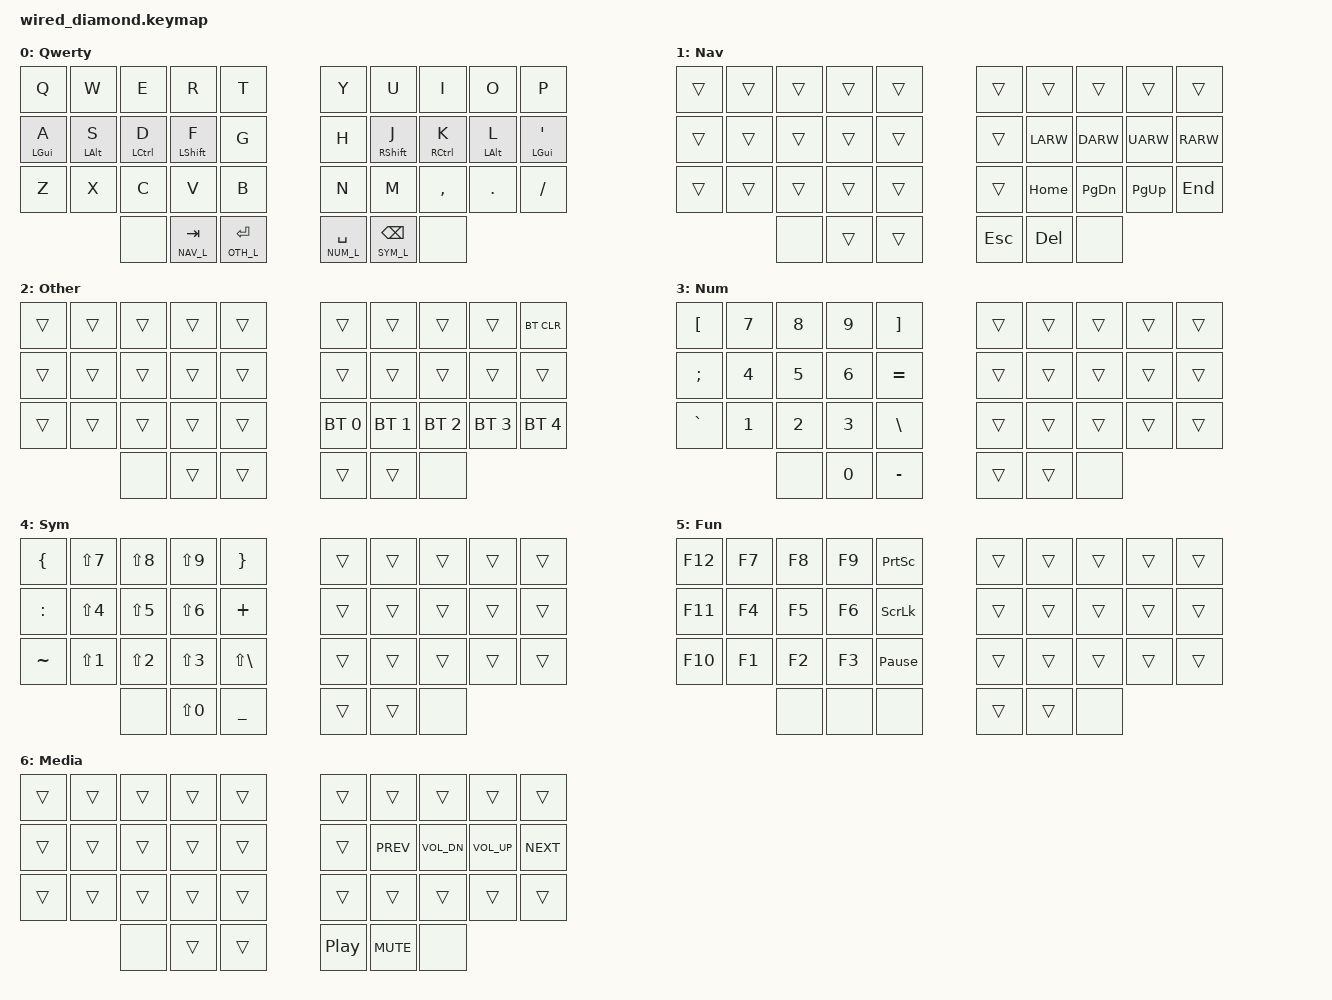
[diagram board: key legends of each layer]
/*
*
* Copyright (c) 2024 Rafael Romão
* SPDX-License-Identifier: MIT
*
*/

#include <behaviors.dtsi>
#include <dt-bindings/zmk/keys.h>
#include <dt-bindings/zmk/bt.h>

#define NAV_L 1
#define OTH_L 2
#define NUM_L 3
#define SYM_L 4
#define FUN_L 5
#define MED_L 6

/ {
    behaviors {
        hm: homerow_mods {
            compatible = "zmk,behavior-hold-tap";
            label = "homerow mods";
            #binding-cells = <2>;
            tapping_term_ms = <200>;
            flavor = "tap-preferred";
            bindings = <&kp>, <&kp>;
        };
    };

    keymap {
        compatible = "zmk,keymap";

        qwerty_layer {
            label = "Qwerty";
            bindings = <
                &kp Q      &kp W      &kp E       &kp R          &kp T         &kp Y            &kp U          &kp I       &kp O      &kp P
                &hm LGUI A &hm LALT S &hm LCTRL D &hm LSHFT F    &kp G         &kp H            &hm RSHFT J    &hm RCTRL K &hm LALT L &hm LGUI QUOT
                &kp Z      &kp X      &kp C       &kp V          &kp B         &kp N            &kp M          &kp COMMA   &kp DOT    &kp FSLH
                                      &none       &lt NAV_L TAB  &lt OTH_L RET &lt NUM_L SPACE  &lt SYM_L BKSP &none       
            >;
        };

        nav_layer {
            label = "Nav";
            bindings = <
                &trans     &trans     &trans      &trans          &trans       &trans           &trans         &trans      &trans     &trans
                &trans     &trans     &trans      &trans          &trans       &trans           &kp LARW       &kp DARW    &kp UARW   &kp RARW
                &trans     &trans     &trans      &trans          &trans       &trans           &kp HOME       &kp PG_DN   &kp PG_UP  &kp END
                                      &none       &trans          &trans       &kp ESC          &kp DEL        &none          
            >;
        };

        other_layer {
            label = "Other";
            bindings = <
                &trans	   &trans     &trans      &trans          &trans       &trans           &trans         &trans       &trans       &bt BT_CLR
                &trans     &trans     &trans      &trans          &trans       &trans           &trans         &trans       &trans       &trans
                &trans     &trans     &trans      &trans          &trans       &bt BT_SEL 0     &bt BT_SEL 1   &bt BT_SEL 2 &bt BT_SEL 3 &bt BT_SEL 4
                                      &none       &trans          &trans       &trans           &trans         &none       
            >;
        };

        num_layer {
            label = "Num";
            bindings = <
                &kp LBKT   &kp N7     &kp N8      &kp N9          &kp RBKT      &trans          &trans         &trans      &trans     &trans
                &kp SEMI   &kp N4     &kp N5      &kp N6          &kp EQUAL     &trans          &trans         &trans      &trans     &trans
                &kp GRAVE  &kp N1     &kp N2      &kp N3          &kp BSLH      &trans          &trans         &trans      &trans     &trans
                                      &none       &kp N0          &kp MINUS     &trans          &trans         &none       
            >;
        };

        sym_layer {
            label = "Sym";
            bindings = <
                &kp LBRC     &kp LS(N7)  &kp LS(N8)  &kp LS(N9) &kp RBRC        &trans &trans   &trans    &trans    &trans
                &kp COLON    &kp LS(N4)  &kp LS(N5)  &kp LS(N6) &kp PLUS        &trans &trans   &trans    &trans    &trans
                &kp TILDE    &kp LS(N1)  &kp LS(N2)  &kp LS(N3) &kp LS(BSLH)    &trans &trans   &trans    &trans    &trans
                                         &none       &kp LS(N0) &kp UNDER       &trans &trans   &none          
            >;
        };

        fun_layer {
            label = "Fun";
            bindings = <
                &kp F12     &kp F7     &kp F8      &kp F9     &kp PSCRN         &trans          &trans         &trans      &trans     &trans
                &kp F11     &kp F4     &kp F5      &kp F6     &kp SLCK          &trans          &trans         &trans      &trans     &trans
                &kp F10     &kp F1     &kp F2      &kp F3     &kp PAUSE_BREAK   &trans          &trans         &trans      &trans     &trans
                                       &none       &none      &none             &trans          &trans         &none        
            >;
        };
        media_layer {
            label = "Media";
            bindings = <
                &trans	   &trans     &trans      &trans          &trans       &trans           &trans         &trans       &trans       &trans
                &trans     &trans     &trans      &trans          &trans       &trans           &kp C_PREV     &kp C_VOL_DN &kp C_VOL_UP &kp C_NEXT
                &trans     &trans     &trans      &trans          &trans       &trans           &trans         &trans       &trans       &trans
                                      &none       &trans          &trans       &kp C_PLAY_PAUSE &kp C_MUTE     &none        
            >;
        };
    };
};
